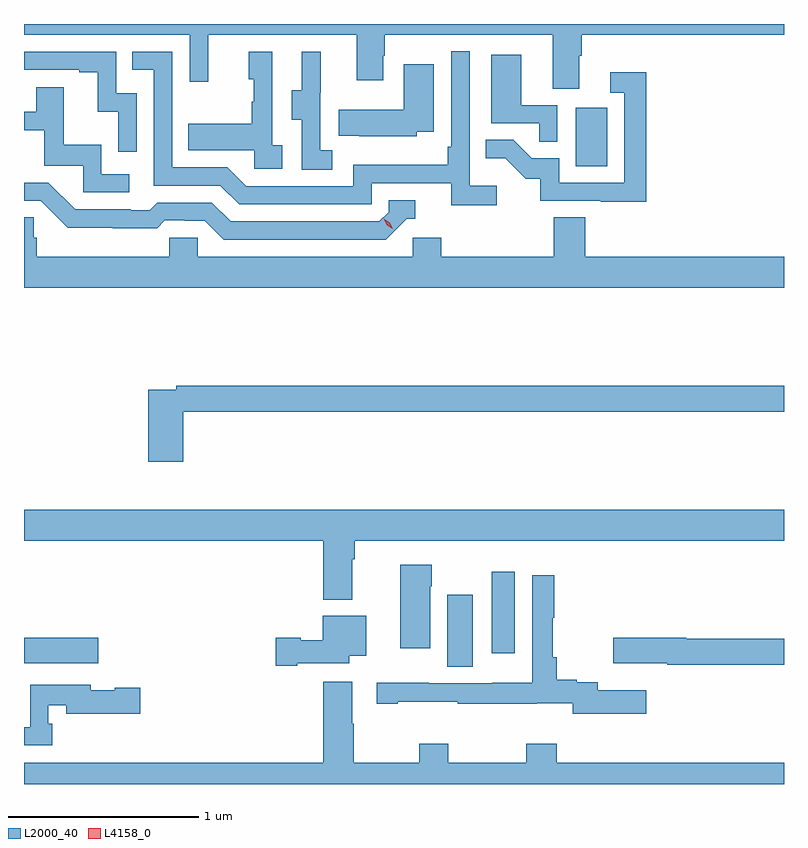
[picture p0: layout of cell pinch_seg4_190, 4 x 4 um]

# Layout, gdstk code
import gdstk
lib = gdstk.Library(unit=1e-6, precision=1e-09)
def R(c, l, rs):  # rectangles x0, y0, x1, y1
    for r in rs: c.add(gdstk.rectangle(r[:2], r[2:], *l))
def P(c, l, *ps):  # polygons
    for p in ps: c.add(gdstk.Polygon(p, *l))
L2000_40 = (2000, 40)
L4158_0 = (4158, 0)

pinch_seg4_190 = lib.new_cell('pinch_seg4_190')
R(pinch_seg4_190, L2000_40, [(961.886,810.808,962.02,811.189), (959.659,810.827,960.049,810.962), (962.12,810.879,962.242,811.309), (962.564,813.444,962.728,813.751)])
P(pinch_seg4_190, L2000_40, [(962.581,814.024),(962.594,814.024),(962.594,814.136),(963.659,814.136),(963.659,814.192),(959.659,814.192),(959.659,814.136),(960.531,814.136),(960.531,813.888),(960.629,813.888),(960.629,814.136),(961.409,814.136),(961.409,813.897),(961.549,813.897),(961.549,814.025),(961.557,814.025),(961.557,814.136),(962.441,814.136),(962.441,813.85),(962.581,813.85)],
  [(962.146,813.34),(962.004,813.34),(962.004,814.048),(961.908,814.048),(961.908,813.547),(961.888,813.547),(961.888,813.451),(961.392,813.451),(961.392,813.339),(960.828,813.339),(960.729,813.438),(960.438,813.438),(960.438,814.047),(960.229,814.047),(960.229,813.951),(960.342,813.951),(960.342,813.342),(960.692,813.342),(960.791,813.243),(961.488,813.243),(961.488,813.354),(961.907,813.354),(961.907,813.238),(962.146,813.238)],
  [(960.252,813.828),(960.144,813.828),(960.144,814.047),(959.659,814.047),(959.659,813.951),(959.951,813.951),(959.951,813.939),(960.047,813.939),(960.047,813.731),(960.156,813.731),(960.156,813.519),(960.252,813.519)],
  [(961.282,813.527),(961.218,813.527),(961.218,813.831),(961.22,813.831),(961.22,814.045),(961.121,814.045),(961.121,813.843),(961.067,813.843),(961.067,813.688),(961.122,813.688),(961.122,813.424),(961.282,813.424)],
  [(961.018,813.554),(960.966,813.554),(960.966,814.045),(960.842,814.045),(960.842,813.9),(960.868,813.9),(960.868,813.782),(960.858,813.782),(960.858,813.667),(960.523,813.667),(960.523,813.527),(960.87,813.527),(960.87,813.429),(961.018,813.429)],
  [(962.466,813.765),(962.275,813.765),(962.275,814.03),(962.117,814.03),(962.117,813.669),(962.371,813.669),(962.371,813.571),(962.466,813.571)],
  [(961.725,813.626),(961.816,813.626),(961.816,813.979),(961.658,813.979),(961.658,813.742),(961.315,813.742),(961.315,813.605),(961.423,813.605),(961.423,813.602),(961.725,813.602)],
  [(962.933,813.937),(962.745,813.937),(962.745,813.831),(962.817,813.831),(962.817,813.357),(962.475,813.357),(962.475,813.486),(962.331,813.486),(962.233,813.584),(962.089,813.584),(962.089,813.485),(962.193,813.485),(962.3,813.378),(962.377,813.378),(962.377,813.261),(962.695,813.261),(962.695,813.256),(962.933,813.256)],
  [(960.214,813.402),(960.066,813.402),(960.066,813.556),(959.867,813.556),(959.867,813.859),(959.723,813.859),(959.723,813.729),(959.659,813.729),(959.659,813.633),(959.765,813.633),(959.765,813.447),(959.97,813.447),(959.97,813.306),(960.214,813.306)],
  [(961.674,813.168),(961.717,813.168),(961.717,813.264),(961.578,813.264),(961.578,813.201),(961.53,813.153),(960.747,813.153),(960.648,813.252),(960.359,813.252),(960.32,813.213),(960.221,813.213),(960.221,813.216),(959.928,813.216),(959.787,813.357),(959.659,813.357),(959.659,813.261),(959.748,813.261),(959.89,813.119),(960.126,813.119),(960.126,813.117),(960.359,813.117),(960.401,813.159),(960.504,813.159),(960.504,813.156),(960.611,813.156),(960.71,813.057),(961.563,813.057)],
  [(963.659,812.968),(962.612,812.968),(962.612,813.176),(962.447,813.176),(962.447,812.968),(961.856,812.968),(961.856,813.066),(961.704,813.066),(961.704,812.968),(960.573,812.968),(960.573,813.066),(960.423,813.066),(960.423,812.968),(959.726,812.968),(959.726,813.066),(959.711,813.066),(959.711,813.176),(959.659,813.176),(959.659,812.804),(963.659,812.804)],
  [(960.497,812.152),(963.659,812.152),(963.659,812.288),(960.46,812.288),(960.46,812.268),(960.314,812.268),(960.314,811.887),(960.497,811.887)],
  [(961.387,811.376),(961.4,811.376),(961.4,811.472),(963.659,811.472),(963.659,811.636),(959.659,811.636),(959.659,811.472),(961.235,811.472),(961.235,811.163),(961.387,811.163)],
  [(961.798,811.232),(961.806,811.232),(961.806,811.345),(961.64,811.345),(961.64,810.906),(961.798,810.906)],
  [(962.935,810.685),(962.68,810.685),(962.68,810.727),(962.568,810.727),(962.568,810.74),(962.464,810.74),(962.464,810.859),(962.443,810.859),(962.443,811.067),(962.45,811.067),(962.45,811.291),(962.334,811.291),(962.334,810.724),(962.124,810.724),(962.124,810.723),(961.79,810.723),(961.79,810.725),(961.515,810.725),(961.515,810.615),(961.627,810.615),(961.627,810.625),(961.943,810.625),(961.943,810.615),(962.358,810.615),(962.358,810.617),(962.546,810.617),(962.546,810.563),(962.935,810.563)],
  [(961.096,810.827),(961.372,810.827),(961.372,810.866),(961.459,810.866),(961.459,811.078),(961.232,811.078),(961.232,810.949),(961.116,810.949),(961.116,810.962),(960.984,810.962),(960.984,810.815),(961.096,810.815)],
  [(963.659,810.956),(963.144,810.956),(963.144,810.962),(962.76,810.962),(962.76,810.827),(963.044,810.827),(963.044,810.82),(963.659,810.82)],
  [(963.659,810.304),(962.462,810.304),(962.462,810.403),(962.302,810.403),(962.302,810.304),(961.893,810.304),(961.893,810.403),(961.738,810.403),(961.738,810.304),(961.395,810.304),(961.395,810.509),(961.387,810.509),(961.387,810.73),(961.235,810.73),(961.235,810.304),(959.659,810.304),(959.659,810.192),(963.659,810.192)],
  [(959.807,810.51),(959.787,810.51),(959.787,810.606),(959.882,810.606),(959.882,810.563),(960.271,810.563),(960.271,810.698),(960.136,810.698),(960.136,810.685),(960.01,810.685),(960.01,810.714),(959.691,810.714),(959.691,810.492),(959.659,810.492),(959.659,810.396),(959.807,810.396)])
P(pinch_seg4_190, L4158_0, [(961.601,813.114),(961.57,813.133),(961.553,813.166),(961.553,813.166),(961.553,813.166),(961.584,813.147),(961.601,813.115),(961.601,813.114)])

lib.write_gds('pinch_seg4_190.gds')
